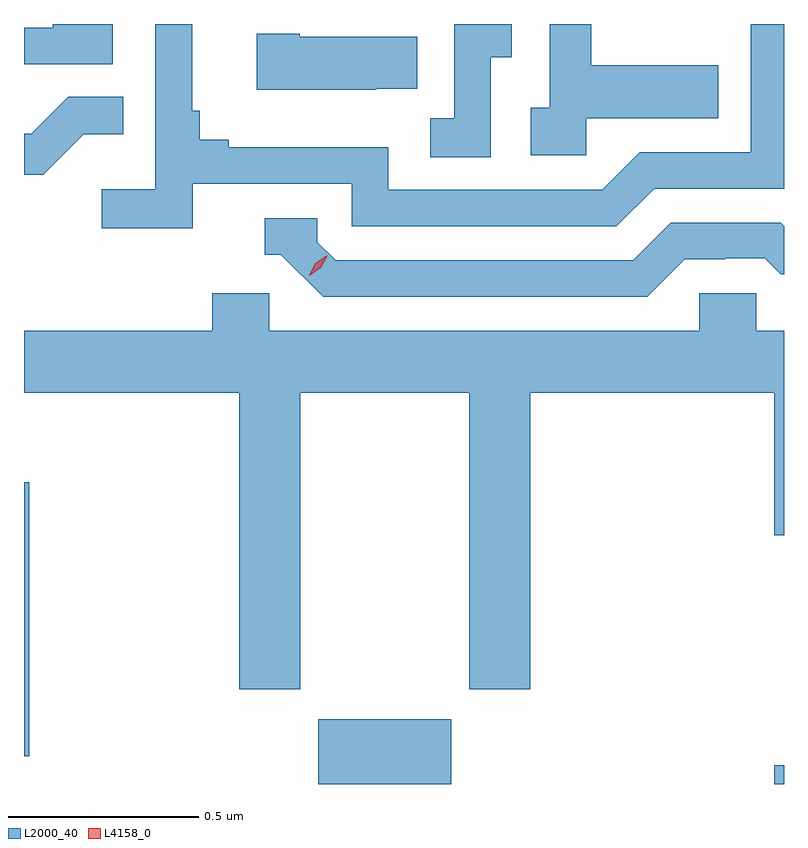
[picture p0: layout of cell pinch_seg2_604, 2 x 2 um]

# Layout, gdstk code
import gdstk
lib = gdstk.Library(unit=1e-6, precision=1e-09)
def R(c, l, rs):  # rectangles x0, y0, x1, y1
    for r in rs: c.add(gdstk.rectangle(r[:2], r[2:], *l))
def P(c, l, *ps):  # polygons
    for p in ps: c.add(gdstk.Polygon(p, *l))
L2000_40 = (2000, 40)
L4158_0 = (4158, 0)

pinch_seg2_604 = lib.new_cell('pinch_seg2_604')
R(pinch_seg2_604, L2000_40, [(1062.908,611.975,1063.258,612.145), (1064.108,611.975,1064.134,612.025), (1062.134,612.048,1062.148,612.769)])
P(pinch_seg2_604, L2000_40, [(1063.362,613.888),(1063.417,613.888),(1063.417,613.975),(1063.266,613.975),(1063.266,613.727),(1063.203,613.727),(1063.203,613.624),(1063.362,613.624)],
  [(1062.578,613.554),(1062.996,613.554),(1062.996,613.443),(1063.693,613.443),(1063.792,613.542),(1064.134,613.542),(1064.134,613.975),(1064.046,613.975),(1064.046,613.638),(1063.755,613.638),(1063.656,613.539),(1063.092,613.539),(1063.092,613.651),(1062.673,613.651),(1062.673,613.67),(1062.596,613.67),(1062.596,613.747),(1062.577,613.747),(1062.577,613.975),(1062.48,613.975),(1062.48,613.54),(1062.339,613.54),(1062.339,613.438),(1062.578,613.438)],
  [(1063.614,613.727),(1063.961,613.727),(1063.961,613.867),(1063.627,613.867),(1063.627,613.975),(1063.518,613.975),(1063.518,613.754),(1063.467,613.754),(1063.467,613.629),(1063.614,613.629)],
  [(1062.367,613.975),(1062.209,613.975),(1062.209,613.965),(1062.134,613.965),(1062.134,613.869),(1062.367,613.869)],
  [(1063.061,613.805),(1063.169,613.805),(1063.169,613.942),(1062.859,613.942),(1062.859,613.95),(1062.747,613.95),(1062.747,613.802),(1063.061,613.802)],
  [(1062.291,613.685),(1062.395,613.685),(1062.395,613.784),(1062.251,613.784),(1062.153,613.686),(1062.134,613.686),(1062.134,613.578),(1062.184,613.578)],
  [(1063.873,613.356),(1063.98,613.356),(1063.98,613.359),(1064.083,613.359),(1064.125,613.317),(1064.134,613.317),(1064.134,613.443),(1064.125,613.452),(1063.836,613.452),(1063.737,613.353),(1062.954,613.353),(1062.906,613.401),(1062.906,613.464),(1062.767,613.464),(1062.767,613.368),(1062.81,613.368),(1062.921,613.257),(1063.774,613.257)],
  [(1062.78,613.266),(1062.629,613.266),(1062.629,613.168),(1062.134,613.168),(1062.134,613.004),(1062.701,613.004),(1062.701,612.225),(1062.861,612.225),(1062.861,613.004),(1063.306,613.004),(1063.306,612.225),(1063.466,612.225),(1063.466,613.004),(1064.108,613.004),(1064.108,612.63),(1064.134,612.63),(1064.134,613.168),(1064.061,613.168),(1064.061,613.266),(1063.911,613.266),(1063.911,613.168),(1062.78,613.168)])
P(pinch_seg2_604, L4158_0, [(1062.884,613.313),(1062.884,613.314),(1062.901,613.346),(1062.931,613.365),(1062.932,613.365),(1062.932,613.365),(1062.915,613.333),(1062.885,613.313)])

lib.write_gds('pinch_seg2_604.gds')
